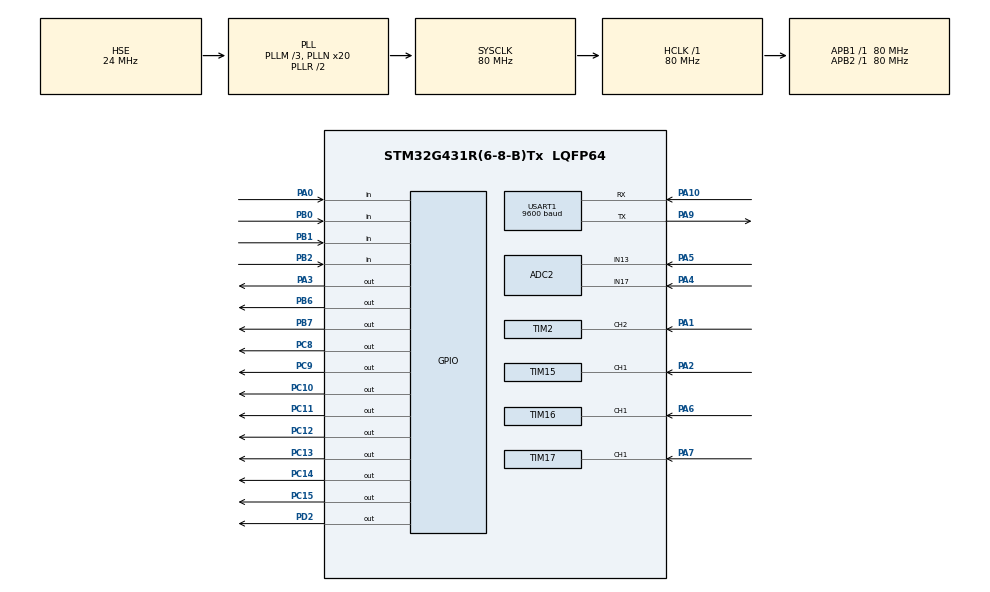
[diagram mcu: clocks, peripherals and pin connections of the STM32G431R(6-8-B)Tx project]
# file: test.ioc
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ADC2.Channel-0\#ChannelRegularConversion=ADC_CHANNEL_13
ADC2.Channel-3\#ChannelRegularConversion=ADC_CHANNEL_17
ADC2.NbrOfConversion=2
ADC2.NbrOfConversionFlag=1
ADC2.OffsetNumber-0\#ChannelRegularConversion=ADC_OFFSET_NONE
ADC2.OffsetNumber-3\#ChannelRegularConversion=ADC_OFFSET_NONE
ADC2.Rank-0\#ChannelRegularConversion=1
ADC2.Rank-3\#ChannelRegularConversion=2
ADC2.SamplingTime-0\#ChannelRegularConversion=ADC_SAMPLETIME_640CYCLES_5
ADC2.SamplingTime-3\#ChannelRegularConversion=ADC_SAMPLETIME_640CYCLES_5
Mcu.Family=STM32G4
Mcu.Name=STM32G431R(6-8-B)Tx
Mcu.Package=LQFP64
NVIC.PriorityGroup=NVIC_PRIORITYGROUP_4
NVIC.TIM1_BRK_TIM15_IRQn=true\:0\:0\:false\:false\:true\:true\:true
NVIC.TIM1_TRG_COM_TIM17_IRQn=true\:0\:0\:false\:false\:true\:true\:true
NVIC.TIM1_UP_TIM16_IRQn=true\:0\:0\:false\:false\:true\:true\:true
NVIC.TIM2_IRQn=true\:0\:0\:false\:false\:true\:true\:true
NVIC.TIM3_IRQn=true\:0\:0\:false\:false\:true\:true\:true
NVIC.TIM4_IRQn=true\:0\:0\:false\:false\:true\:true\:true
NVIC.TIM6_DAC_IRQn=true\:0\:0\:false\:false\:true\:true\:true
NVIC.USART1_IRQn=true\:0\:0\:false\:false\:true\:true\:true
PA0.GPIO_PuPd=GPIO_PULLUP
PA0.Signal=GPIO_Input
PA1.Signal=S_TIM2_CH2
PA10.Mode=Asynchronous
PA10.Signal=USART1_RX
PA13.Mode=Serial_Wire
PA13.Signal=SYS_JTMS-SWDIO
PA14.Mode=Serial_Wire
PA14.Signal=SYS_JTCK-SWCLK
PA2.Signal=S_TIM15_CH1
PA3.Signal=GPIO_Output
PA4.Mode=IN17-Single-Ended
PA4.Signal=ADC2_IN17
PA5.Mode=IN13-Single-Ended
PA5.Signal=ADC2_IN13
PA6.Signal=S_TIM16_CH1
PA7.Signal=S_TIM17_CH1
PA9.Mode=Asynchronous
PA9.Signal=USART1_TX
PB0.GPIO_PuPd=GPIO_PULLUP
PB0.Signal=GPIO_Input
PB1.GPIO_PuPd=GPIO_PULLUP
PB1.Signal=GPIO_Input
PB2.GPIO_PuPd=GPIO_PULLUP
PB2.Signal=GPIO_Input
PB6.Signal=GPIO_Output
PB7.GPIO_Speed=GPIO_SPEED_FREQ_HIGH
PB7.Signal=GPIO_Output
PC10.PinState=GPIO_PIN_SET
PC10.Signal=GPIO_Output
PC11.PinState=GPIO_PIN_SET
PC11.Signal=GPIO_Output
PC12.PinState=GPIO_PIN_SET
PC12.Signal=GPIO_Output
PC13.PinState=GPIO_PIN_SET
PC13.Signal=GPIO_Output
PC14-OSC32_IN.PinState=GPIO_PIN_SET
PC14-OSC32_IN.Signal=GPIO_Output
PC15-OSC32_OUT.PinState=GPIO_PIN_SET
PC15-OSC32_OUT.Signal=GPIO_Output
PC8.PinState=GPIO_PIN_SET
PC8.Signal=GPIO_Output
PC9.PinState=GPIO_PIN_SET
PC9.Signal=GPIO_Output
PD2.Signal=GPIO_Output
PF0-OSC_IN.Mode=HSE-External-Oscillator
PF0-OSC_IN.Signal=RCC_OSC_IN
PF1-OSC_OUT.Mode=HSE-External-Oscillator
PF1-OSC_OUT.Signal=RCC_OSC_OUT
ProjectManager.HeapSize=0x200
ProjectManager.StackSize=0x400
ProjectManager.TargetToolchain=MDK-ARM V5.32
RCC.ADC12Freq_Value=80000000
RCC.AHBFreq_Value=80000000
RCC.APB1Freq_Value=80000000
RCC.APB1TimFreq_Value=80000000
RCC.APB2Freq_Value=80000000
RCC.APB2TimFreq_Value=80000000
RCC.CortexFreq_Value=80000000
RCC.EXTERNAL_CLOCK_VALUE=12288000
RCC.HCLKFreq_Value=80000000
RCC.HSE_VALUE=24000000
RCC.HSI48_VALUE=48000000
RCC.HSI_VALUE=16000000
RCC.LSE_VALUE=32768
RCC.PLLM=RCC_PLLM_DIV3
RCC.PLLN=20
RCC.PLLSourceVirtual=RCC_PLLSOURCE_HSE
RCC.RTCClockSelection=RCC_RTCCLKSOURCE_HSE_DIV32
RCC.SYSCLKFreq_VALUE=80000000
RCC.SYSCLKSource=RCC_SYSCLKSOURCE_PLLCLK
RCC.USBFreq_Value=80000000
RCC.VCOOutputFreq_Value=160000000
RTC.AsynchPrediv=125
RTC.Hours=23
RTC.Minutes=59
RTC.Month=RTC_MONTH_MARCH
RTC.Seconds=55
RTC.SynchPrediv=6000
RTC.WeekDay=RTC_WEEKDAY_FRIDAY
RTC.Year=24
SH.S_TIM15_CH1.0=TIM15_CH1,Input_Capture1_from_TI1
SH.S_TIM16_CH1.0=TIM16_CH1,Input_Capture1_from_TI1
SH.S_TIM17_CH1.0=TIM17_CH1,Input_Capture1_from_TI1
SH.S_TIM2_CH2.0=TIM2_CH2,Input_Capture2_from_TI2
TIM15.Channel-Input_Capture1_from_TI1=TIM_CHANNEL_1
TIM15.Prescaler=80-1
TIM16.Channel=TIM_CHANNEL_1
TIM16.PeriodNoDither=65535
TIM16.Prescaler=80-1
TIM17.Channel=TIM_CHANNEL_1
TIM17.PeriodNoDither=65535
TIM17.Prescaler=80-1
TIM2.Channel-Input_Capture2_from_TI2=TIM_CHANNEL_2
TIM2.CounterMode=TIM_COUNTERMODE_UP
TIM2.PeriodNoDither=65535
TIM2.Prescaler=80-1
TIM3.Prescaler=80-1
TIM4.PeriodNoDither=10000-1
TIM4.Prescaler=80-1
TIM6.PeriodNoDither=10000-1
TIM6.Prescaler=80-1
USART1.BaudRate=9600
USART1.VirtualMode-Asynchronous=VM_ASYNC
VP_RTC_VS_RTC_Activate.Mode=RTC_Enabled
VP_RTC_VS_RTC_Calendar.Mode=RTC_Calendar
VP_SYS_VS_DBSignals.Mode=DisableDeadBatterySignals
VP_TIM15_VS_ClockSourceINT.Mode=Internal
VP_TIM16_VS_ClockSourceINT.Mode=Enable_Timer
VP_TIM17_VS_ClockSourceINT.Mode=Enable_Timer
VP_TIM2_VS_ClockSourceINT.Mode=Internal
VP_TIM3_VS_ClockSourceINT.Mode=Internal
VP_TIM4_VS_ClockSourceINT.Mode=Internal
VP_TIM6_VS_ClockSourceINT.Mode=Enable_Timer
board=custom

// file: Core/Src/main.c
/* USER CODE BEGIN Header */
/**
 ******************************************************************************
 * @file           : main.c
 * @brief          : Main program body
 ******************************************************************************
 * @attention
 *
 * Copyright (c) 2024 STMicroelectronics.
 * All rights reserved.
 *
 * This software is licensed under terms that can be found in the LICENSE file
 * in the root directory of this software component.
 * If no LICENSE file comes with this software, it is provided AS-IS.
 *
 ******************************************************************************
 */
/* USER CODE END Header */
#include "main.h"
#include "adc.h"
#include "rtc.h"
#include "tim.h"
#include "usart.h"
#include "gpio.h"

/* USER CODE BEGIN Includes */
#include "LED.h"
#include "lcd.h"
#include "stdio.h"
#include "string.h"
#include "Key.h"
#include "interrupt.h"
#include "badc.h"
#include "i2c - hal.h"
#include "PWM.h"
#include "seg_LED.h"
#include "adc_key.h"
#include "ds18b20.h"
#include "dht11.h"
/* USER CODE END Includes */

/* USER CODE BEGIN PTD */

/*执行速度控制变量*/
__IO uint32_t uwTick_LED_Speed_Ctrl;
__IO uint32_t uwTick_KEY_Speed_Ctrl;
__IO uint32_t uwTick_LCD_Speed_Ctrl;
__IO uint32_t uwTick_RTC_Speed_Ctrl;
__IO uint32_t uwTick_Time_Count;

/* USER CODE END PTD */

/* USER CODE BEGIN PD */
/*全局变量区*/
uint8_t ucLED;

uint8_t LCD_String_Disp[21]; // 显示屏显示数据存储数组
uint8_t LCD_Disp_Change = 0; // 显示屏切换界面变量
uint8_t LCD_Line_Change = 0; // 显示屏选择行 1-第一行 2-第二行 3-第三行 默认为0不选择 无高亮文本

uint8_t PA6_duty = 10, PA7_duty = 10;
uint16_t PA6_Frq = 100, PA7_Frq = 200;

uint8_t EEPROM_Save[4] = {10, 10}; // EEPROM芯片中存取的数据
uint8_t EEPROM_Disp[4] = {10, 10}; // EEPROM数据显示数组

uint8_t segBuff[3]; // Seg数码管显示数组

ADC2_ChannelValues adcValues; // ADC多通道扫描数值结构体
uint8_t ADC_Key;              // ADC_KEY按键值

int Ds_Temp; // ds18b20温度值

// DHT11数据   data[0]表示湿度整数 data[1]表示湿度小数 ;data[2]表示温度整数 data[3]表示温度小数；
uint8_t DHT11[4];

float Light_Value; // 光敏电阻阻值

// 用于存储时间和日期的结构体
RTC_TimeTypeDef RTC_Time = {0};
RTC_DateTypeDef RTC_Date = {0};
char dateTimeBuffer[50]; // 存储日期时间字符串

/*拓展变量区*/
extern uint8_t single_key_flag[4];     // 按键单击
extern uint8_t double_key_flag[4];     // 按键双击
extern uint8_t long_key_flag[4];       // 按键长按
extern uint8_t single_ADC_key_flag[8]; // ADC按键单击
extern uint8_t double_ADC_key_flag[8]; // ADC按键双击
extern uint8_t long_ADC_key_flag[8];   // ADC按键长按

// extern uint16_t frq1, frq2;        // 输入捕获测量的频率
// extern float duty1, duty2;         // 占空比

extern uint32_t RP[4]; // 轮询ADC采集值或者占空比值

extern char rxdata[30]; // 串口接收数组
extern uint8_t rxdat;
extern unsigned char rx_pointer;

/* USER CODE END PD */

/* USER CODE BEGIN PM */

/*子函数声明区*/

void LCD_Proc(void);
void KEY_Proc(void);
void LED_Proc(void);
void RTC_Proc(void);
void ADC_Proc(void);
void USART_Proc(void);

/* USER CODE END PM */

void SystemClock_Config(void);

int main(void)
{

  /* MCU Configuration--------------------------------------------------------*/

  /* Reset of all peripherals, Initializes the Flash interface and the Systick. */
  HAL_Init();

  /* Configure the system clock */
  SystemClock_Config();

  /* Initialize all configured peripherals */
  MX_GPIO_Init();
  MX_TIM2_Init();
  MX_TIM16_Init();
  MX_TIM17_Init();
  MX_TIM3_Init();
  MX_TIM4_Init();
  MX_ADC2_Init();
  MX_USART1_UART_Init();
  MX_RTC_Init();
  MX_TIM15_Init();
  MX_TIM6_Init();
  /* USER CODE BEGIN 2 */

  /*LED灯初始化*/
  LED_Init();

  /*LCD显示屏初始化*/
  LCD_Init();
  LCD_Clear(Black);
  LCD_SetBackColor(Black);
  LCD_SetTextColor(White);

  /*定时器4基本中断开启,按键中断定时器 时间到就进中断检测按键是否按下*/
  HAL_TIM_Base_Start_IT(&htim4);

  /*定时器6基本中断开启,ADC按键中断定时器 时间到就进中断检测按键是否按下*/
  HAL_TIM_Base_Start_IT(&htim16);

  // /*定时器16通道1 PWM生成,PA6 引脚PWM生成定时器*/
  // HAL_TIM_PWM_Start(&htim16, TIM_CHANNEL_1);

  // /*定时器17通道1 PWM生成,PA7 引脚PWM生成定时器*/
  // HAL_TIM_PWM_Start(&htim17, TIM_CHANNEL_1);

  /*定时器16通道1 输入捕获中断开启,PA6引脚*/
  HAL_TIM_IC_Start_IT(&htim16, TIM_CHANNEL_1);

  /*定时器17通道1 输入捕获中断开启,PA7引脚*/
  HAL_TIM_IC_Start_IT(&htim17, TIM_CHANNEL_1);

  /*定时器15通道1 输入捕获中断开启,PA2引脚*/
  HAL_TIM_IC_Start_IT(&htim15, TIM_CHANNEL_1);

  // __HAL_TIM_SET_COMPARE(&htim16, TIM_CHANNEL_1, PA6_duty);
  // __HAL_TIM_SET_COMPARE(&htim17, TIM_CHANNEL_1, PA7_duty);

  /*定时器2通道1 输入捕获中断开启,PA15引脚*/
  HAL_TIM_IC_Start_IT(&htim2, TIM_CHANNEL_1);
  /*定时器2通道2 输入捕获中断开启,PA15引脚*/
  HAL_TIM_IC_Start_IT(&htim2, TIM_CHANNEL_2);

  /*定时器3通道1 输入捕获中断开启,PB4引脚*/
  HAL_TIM_IC_Start_IT(&htim3, TIM_CHANNEL_1);
  /*定时器3通道2 输入捕获中断开启,PB4引脚*/
  HAL_TIM_IC_Start_IT(&htim3, TIM_CHANNEL_2);

  // HAL_ADCEx_Calibration_Start(&hadc1, ADC_SINGLE_ENDED); // 校准ADC1，PB12引脚
  HAL_ADCEx_Calibration_Start(&hadc2, ADC_SINGLE_ENDED); // 校准ADC2，PB15引脚

  /********************************串口接收中断开启***********************************************************/
  HAL_UART_Receive_IT(&huart1, &rxdat, 1);

  /********************************EEPROM存储读取***********************************************************/
  I2C_24c02_Read((uint8_t *)&EEPROM_Save[3], 0x37, 1); // 读取一次判断是否第一次上电

  if (EEPROM_Save[3] != 9) // 初次上电 占空比为10，10
  {
    EEPROM_Save[3] = 9; // 将该位的值改为9写入eeprom中 用于判断非第一次上电 确保再次上电读取eeprom中设置的阈值 以免第一次直接赋值0
    I2C_24c02_Write((uint8_t *)&EEPROM_Save[3], 0x37, 1);
    HAL_Delay(10);
    I2C_24c02_Write((uint8_t *)EEPROM_Save, 0x00, 2); // 将阈值写入EEPROM中
  }
  else // 再次上电读取eeprom中设置的阈值 更新显示的阈
  {
    I2C_24c02_Read(EEPROM_Save, 0x00, 2); // 读取EEPROM中的值
    HAL_Delay(10);
    EEPROM_Disp[0] = EEPROM_Save[0];
    EEPROM_Disp[1] = EEPROM_Save[1];
  }
  /********************************EEPROM存储读取***********************************************************/

  /* USER CODE END 2 */

  /* Infinite loop */
  while (1)
  {

    /* USER CODE BEGIN 3 */
    /*代码写在该行下面 否则会被初始化*/

    LCD_Proc();
    KEY_Proc();
    LED_Proc();
    RTC_Proc();
    ADC_Proc();

    if (ADC_Key == 1)
    {
      Ds_Temp = (int)(ds18b20Read() * 10);
      segBuff[0] = Ds_Temp / 100;
      segBuff[1] = Ds_Temp / 10 % 10;
      segBuff[2] = Ds_Temp % 10;
      SEG_Display(segBuff[0], segBuff[1], segBuff[2], 0, 1, 0);
    }

    if (ADC_Key == 2)
    {
      DHT11_Read_Data(DHT11);
    }

    if (rx_pointer != 0)
    {
      int temp = rx_pointer;
      HAL_Delay(1);
      if (temp == rx_pointer)
        USART_Proc(); // 完成接收
    }
  }
  /* USER CODE END 3 */
}

void SystemClock_Config(void)
{
  RCC_OscInitTypeDef RCC_OscInitStruct = {0};
  RCC_ClkInitTypeDef RCC_ClkInitStruct = {0};

  /** Configure the main internal regulator output voltage
   */
  HAL_PWREx_ControlVoltageScaling(PWR_REGULATOR_VOLTAGE_SCALE1);
  /** Initializes the RCC Oscillators according to the specified parameters
   * in the RCC_OscInitTypeDef structure.
   */
  RCC_OscInitStruct.OscillatorType = RCC_OSCILLATORTYPE_HSE;
  RCC_OscInitStruct.HSEState = RCC_HSE_ON;
  RCC_OscInitStruct.PLL.PLLState = RCC_PLL_ON;
  RCC_OscInitStruct.PLL.PLLSource = RCC_PLLSOURCE_HSE;
  RCC_OscInitStruct.PLL.PLLM = RCC_PLLM_DIV3;
  RCC_OscInitStruct.PLL.PLLN = 20;
  RCC_OscInitStruct.PLL.PLLP = RCC_PLLP_DIV2;
  RCC_OscInitStruct.PLL.PLLQ = RCC_PLLQ_DIV2;
  RCC_OscInitStruct.PLL.PLLR = RCC_PLLR_DIV2;
  if (HAL_RCC_OscConfig(&RCC_OscInitStruct) != HAL_OK)
  {
    Error_Handler();
  }
  /** Initializes the CPU, AHB and APB buses clocks
   */
  RCC_ClkInitStruct.ClockType = RCC_CLOCKTYPE_HCLK | RCC_CLOCKTYPE_SYSCLK | RCC_CLOCKTYPE_PCLK1 | RCC_CLOCKTYPE_PCLK2;
  RCC_ClkInitStruct.SYSCLKSource = RCC_SYSCLKSOURCE_PLLCLK;
  RCC_ClkInitStruct.AHBCLKDivider = RCC_SYSCLK_DIV1;
  RCC_ClkInitStruct.APB1CLKDivider = RCC_HCLK_DIV1;
  RCC_ClkInitStruct.APB2CLKDivider = RCC_HCLK_DIV1;

  if (HAL_RCC_ClockConfig(&RCC_ClkInitStruct, FLASH_LATENCY_2) != HAL_OK)
  {
    Error_Handler();
  }
}

/* USER CODE BEGIN 4 */

/*****************************************LED灯控制函数***************************************************/
void LED_Proc(void)
{
  if ((uwTick - uwTick_LED_Speed_Ctrl) < 200)
    return;
  uwTick_LED_Speed_Ctrl = uwTick; // 200ms执行一次

  // ucLED ^= 0x01;  //异或运算 相同为0，不同为1

  LED_Disp(ucLED);
}

/*****************************************显示屏控制函数***************************************************/
void LCD_Proc(void)
{
  if ((uwTick - uwTick_LCD_Speed_Ctrl) < 100)
    return;
  uwTick_LCD_Speed_Ctrl = uwTick;

  I2C_24c02_Read(EEPROM_Save, 0x00, 2); // 读取EEprom中的值写入Threshold_Ctrl 断电记忆

  if (LCD_Disp_Change == 0)
  {
    LCD_SetTextColor(White); // 初始文本颜色 防止受上一个对文本颜色的改变影响

    memset(LCD_String_Disp, 0, sizeof(LCD_String_Disp));
    sprintf((char *)LCD_String_Disp, "     Disp 1    ");
    LCD_DisplayStringLine(Line1, LCD_String_Disp);

    memset(LCD_String_Disp, 0, sizeof(LCD_String_Disp));
    sprintf((char *)LCD_String_Disp, "    ADC2_15:%d    ", adcValues.AdcChannel13Value);
    LCD_DisplayStringLine(Line2, LCD_String_Disp);

    memset(LCD_String_Disp, 0, sizeof(LCD_String_Disp));
    sprintf((char *)LCD_String_Disp, "    Light:%.2f  ", Light_Value);
    LCD_DisplayStringLine(Line4, LCD_String_Disp);

    memset(LCD_String_Disp, 0, sizeof(LCD_String_Disp));
    sprintf((char *)LCD_String_Disp, "    ADC_KEY:%d    ", ADC_Key);
    LCD_DisplayStringLine(Line6, LCD_String_Disp);
  }
  else
  {
    LCD_SetTextColor(White); // 初始文本颜色 防止受上一个对文本颜色的改变影响

    memset(LCD_String_Disp, 0, sizeof(LCD_String_Disp));
    sprintf((char *)LCD_String_Disp, "     Disp 2    ");
    LCD_DisplayStringLine(Line1, LCD_String_Disp);

    memset(LCD_String_Disp, 0, sizeof(LCD_String_Disp));
    sprintf((char *)LCD_String_Disp, "     Hum:%d.%d   ", DHT11[0], DHT11[1]);
    if (LCD_Line_Change == 1)
    {
      LCD_SetTextColor(Green);
    }
    else
    {
      LCD_SetTextColor(White);
    }
    LCD_DisplayStringLine(Line2, LCD_String_Disp);

    memset(LCD_String_Disp, 0, sizeof(LCD_String_Disp));
    sprintf((char *)LCD_String_Disp, "     Tem:%d.%d   ", DHT11[2], DHT11[3]);
    if (LCD_Line_Change == 2)
    {
      LCD_SetTextColor(Green);
    }
    else
    {
      LCD_SetTextColor(White);
    }
    LCD_DisplayStringLine(Line4, LCD_String_Disp);

    memset(LCD_String_Disp, 0, sizeof(LCD_String_Disp));
    // sprintf((char *)LCD_String_Disp, "     SAVE_1:%d   ", EEPROM_Disp[0]);
    sprintf((char *)LCD_String_Disp, "Frq:%d,%d   ", RP[0], RP[1]);
    if (LCD_Line_Change == 3)
    {
      LCD_SetTextColor(Green);
    }
    else
    {
      LCD_SetTextColor(White);
    }
    LCD_DisplayStringLine(Line6, LCD_String_Disp);

    memset(LCD_String_Disp, 0, sizeof(LCD_String_Disp));
    // sprintf((char *)LCD_String_Disp, "     SAVE_2:%d   ", EEPROM_Disp[1]);
    sprintf((char *)LCD_String_Disp, "duty:%d,%d   ", RP[2], RP[3]);
    if (LCD_Line_Change == 4)
    {
      LCD_SetTextColor(Green);
    }
    else
    {
      LCD_SetTextColor(White);
    }
    LCD_DisplayStringLine(Line8, LCD_String_Disp);
  }
}

/*****************************************按键控制函数***************************************************/

void KEY_Proc(void)
{
  if ((uwTick - uwTick_KEY_Speed_Ctrl) < 50)
    return;
  uwTick_KEY_Speed_Ctrl = uwTick; // 50ms执行一次

  if (single_key_flag[0] == 1) // 按键1单击刷新显示屏
  {
    LCD_Disp_Change ^= 1;     // 0-主界面 1-次界面
    if (LCD_Disp_Change == 0) // 返回主界面时保存设置的值
    {
      EEPROM_Save[0] = EEPROM_Disp[0];
      EEPROM_Save[1] = EEPROM_Disp[1];
      I2C_24c02_Write(EEPROM_Save, 0x00, 2); // 将EEPROM_Save中的值写入EEprom
      // __HAL_TIM_SET_COMPARE(&htim16, TIM_CHANNEL_1, PA6_duty);
      // __HAL_TIM_SET_COMPARE(&htim17, TIM_CHANNEL_1, PA7_duty);
      PWM_Set_Duty(&htim16, TIM_CHANNEL_1, PA6_duty);
      PWM_Set_Duty(&htim17, TIM_CHANNEL_1, PA7_duty);
      PWM_Set_Frequency(&htim16, TIM_CHANNEL_1, PA6_Frq);
      PWM_Set_Frequency(&htim17, TIM_CHANNEL_1, PA7_Frq);
    }
    LCD_Clear(Black);
    single_key_flag[0] = 0;
  }

  if (single_key_flag[1] == 1) // 按键2单击
  {
    if (LCD_Disp_Change)
    {
      LCD_Line_Change++; // 选择高亮显示行
      if (LCD_Line_Change == 5)
      {
        LCD_Line_Change = 0;
      }
    }
    single_key_flag[1] = 0;
  }

  if (single_key_flag[2] == 1) // 按键3单击
  {
    if (LCD_Disp_Change)
    {
      if (LCD_Line_Change == 1) // 设定第一行
      {
        PA6_duty += 10;
        if (PA6_duty > 90)
          PA6_duty = 10;
      }
      else if (LCD_Line_Change == 2) // 设定第二行
      {
        PA7_duty += 10;
        if (PA7_duty > 90)
          PA7_duty = 10;
      }
      else if (LCD_Line_Change == 3) // 设定第三行
      {
        // EEPROM_Disp[0] += 5;
        // if (EEPROM_Disp[0] == 100)
        //   EEPROM_Disp[0] = 0;
        PA6_Frq += 100;
        if (PA6_Frq > 900)
          PA6_Frq = 100;
      }
      else if (LCD_Line_Change == 4) // 设定第四行
      {
        PA7_Frq += 100;
        if (PA7_Frq > 900)
          PA7_Frq = 100;
      }
    }
    single_key_flag[2] = 0;
  }

  if (single_key_flag[3] == 1) // 按键4单击
  {
    if (LCD_Line_Change == 1) // 设定第一行
    {
      PA6_duty -= 10;
      if (PA6_duty == 0)
        PA6_duty = 90;
    }
    else if (LCD_Line_Change == 2) // 设定第二行
    {
      PA7_duty -= 10;
      if (PA7_duty == 0)
        PA7_duty = 90;
    }
    else if (LCD_Line_Change == 3) // 设定第三行
    {
      // EEPROM_Disp[0] -= 5;
      // if (EEPROM_Disp[0] == 0)
      //   EEPROM_Disp[0] = 100;
      PA6_Frq -= 100;
      if (PA6_Frq == 0)
        PA6_Frq = 900;
    }
    else if (LCD_Line_Change == 4) // 设定第四行
    {
      // EEPROM_Disp[1] -= 5;
      // if (EEPROM_Disp[1] == 0)
      //   EEPROM_Disp[1] = 100;
      PA7_Frq -= 100;
      if (PA7_Frq == 0)
        PA7_Frq = 900;
    }
    single_key_flag[3] = 0;
  }

  if (long_key_flag[3] == 1)
  {
    ucLED ^= 0x01;
    long_key_flag[3] = 0;
  }
}

/*****************************************ADC处理函数***************************************************/

void ADC_Proc(void)
{

  adcValues = Read_ADC2_Channels();

  // ADC_Key = Scan_Btn(adcValues.AdcChannel13Value); // 中位值滤波获取ADC_Key的键值

  Light_Value = Return_3_3(adcValues.AdcChannel17Value);
  printf("%.2f,%d\r\n", Light_Value, adcValues.AdcChannel13Value);
}

/*****************************************串口接收函数***************************************************/

void USART_Proc(void)
{

  if (rx_pointer > 0)
  {
    if (rx_pointer == 1)
    {
      if (rxdata[0] == 'C')
      {
        // printf("F:%.2f\r\n", duty1);
      }

      else if (rxdata[0] == 'S')
      {
        printf("ADC1:%d\r\n", 1);
      }
      else
      {
        printf("Error\r\n");
      }
    }

    rx_pointer = 0;
    memset(rxdata, 0, 30);
  }
}

/*RTC时钟配置*/

void RTC_Proc(void)
{
  if ((uwTick - uwTick_RTC_Speed_Ctrl) < 1000)
    return;
  uwTick_RTC_Speed_Ctrl = uwTick; // 1s执行一次

  // 获取当前时间和日期
  HAL_RTC_GetTime(&hrtc, &RTC_Time, RTC_FORMAT_BIN);
  HAL_RTC_GetDate(&hrtc, &RTC_Date, RTC_FORMAT_BIN);

  // printf("Date: %02d-%02d-%02d Time: %02d:%02d:%02d\r\n", RTC_Date.Year, RTC_Date.Month, RTC_Date.Date,
  //        RTC_Time.Hours, RTC_Time.Minutes, RTC_Time.Seconds);
}

/*串口重定向*/
int fputc(int ch, FILE *f)
{
  char c = ch;
  HAL_UART_Transmit(&huart1, (uint8_t *)&c, 1, 50);
  return ch;
}

/* USER CODE END 4 */

void Error_Handler(void)
{
  __disable_irq();
  while (1)
  {
  }
}
